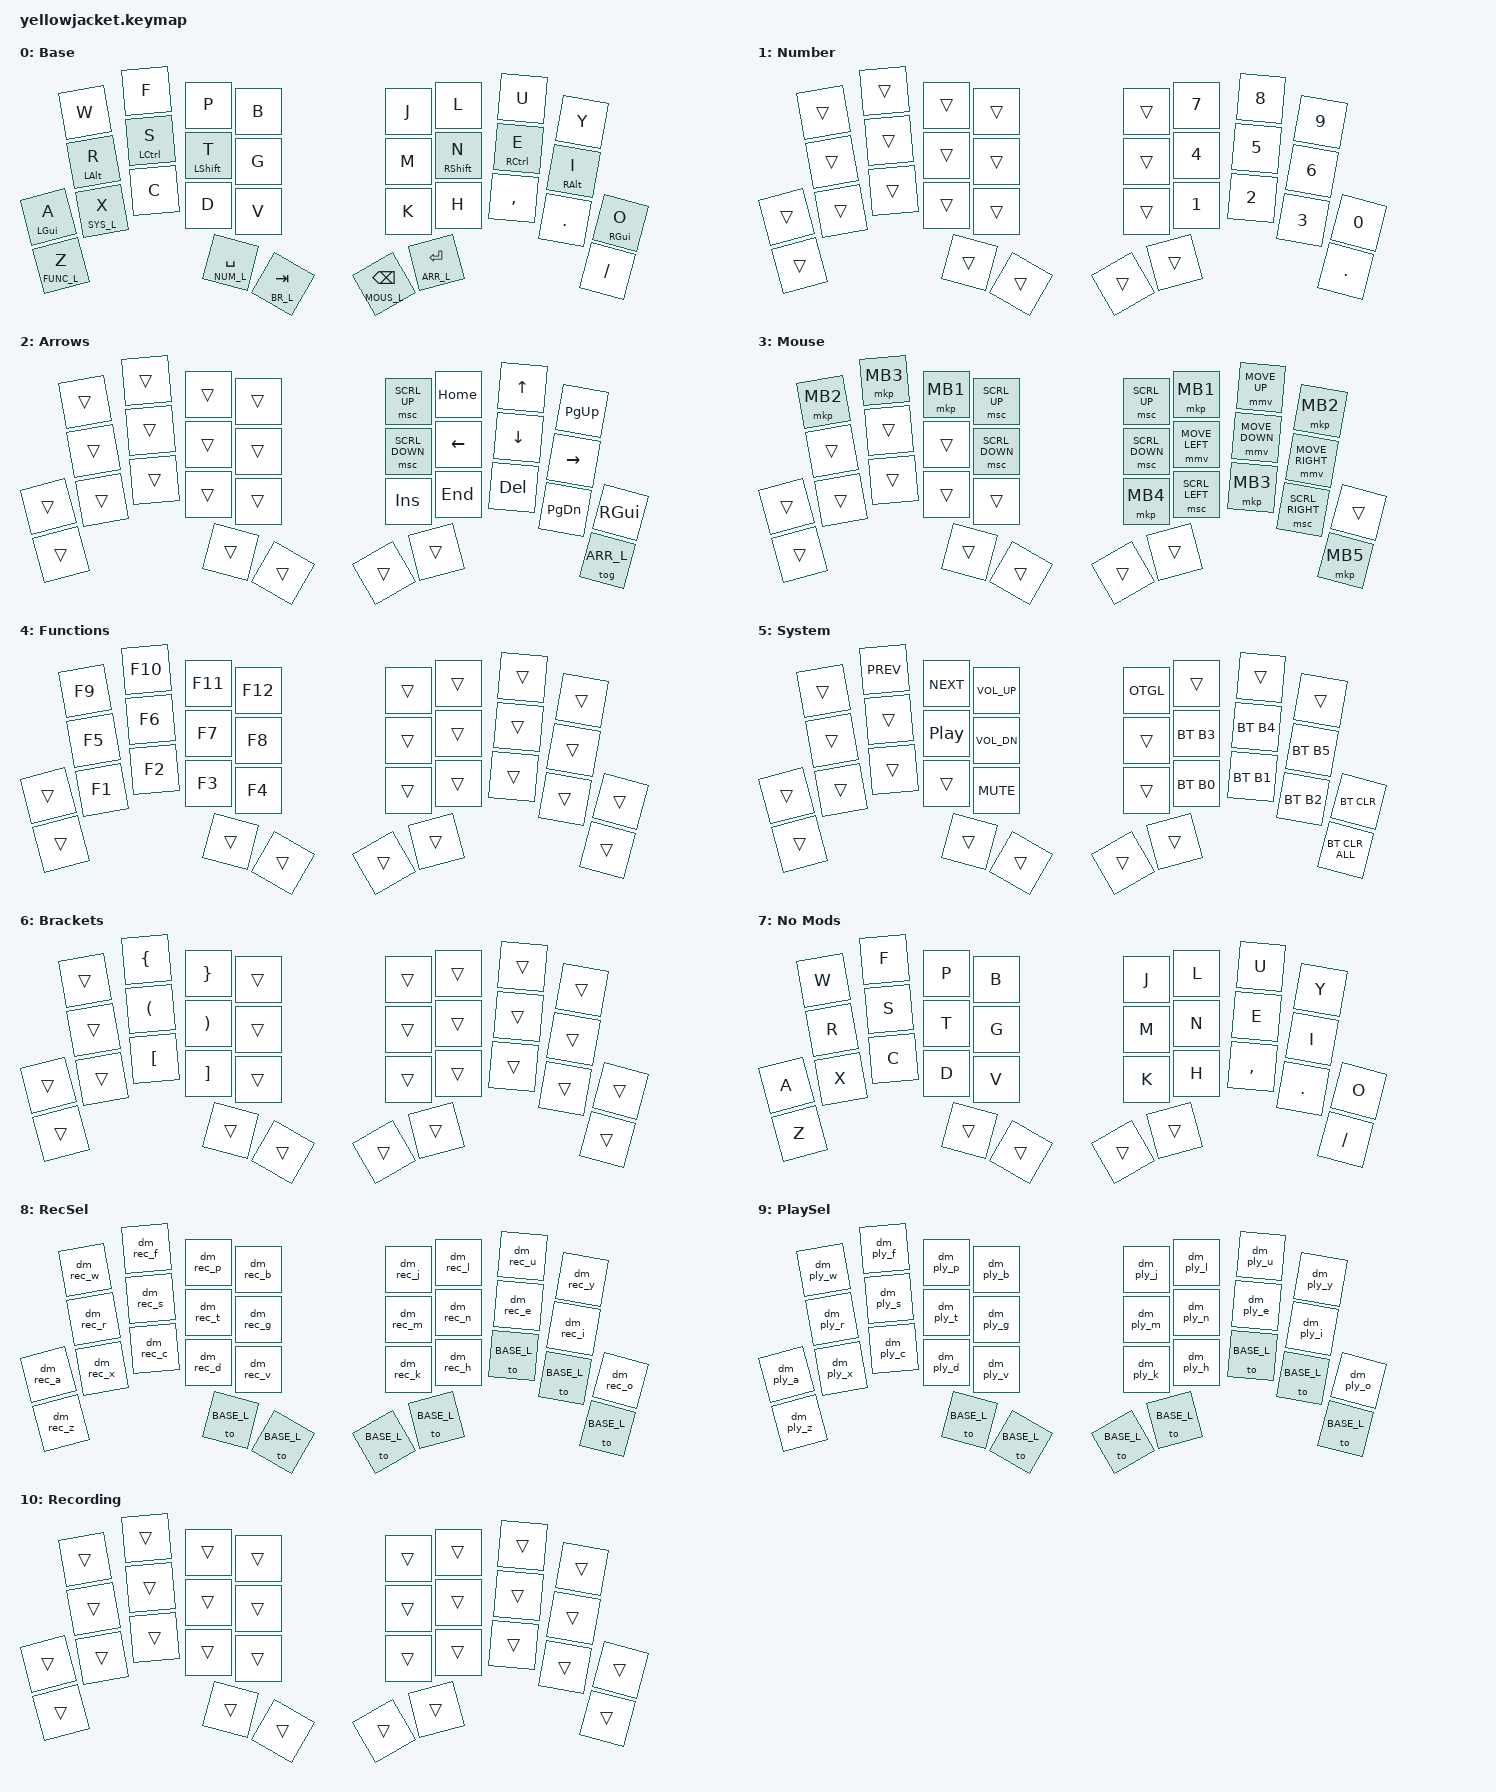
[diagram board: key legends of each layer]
/*
 * Copyright (c) 2020 The ZMK Contributors
 *
 * SPDX-License-Identifier: MIT
 */

#include <behaviors.dtsi>
#include <dt-bindings/zmk/bt.h>
#include <dt-bindings/zmk/ext_power.h>
#include <dt-bindings/zmk/keys.h>
#include <dt-bindings/zmk/outputs.h>

#define ZMK_POINTING_DEFAULT_MOVE_VAL 2000
#define ZMK_POINTING_DEFAULT_SCRL_VAL 20

#include <dt-bindings/zmk/pointing.h>
#include <dt-bindings/zmk/dynamic_macro.h>


#define BASE_L  0
#define NUM_L   1
#define ARR_L   2
#define MOUS_L  3
#define FUNC_L  4
#define SYS_L   5
#define BR_L    6
#define N_M_L   7

/* Vim-style dynamic macro state machine layers */
#define REC_L   8   /* "q" pressed: waiting for a register key */
#define PLY_L   9   /* "@" pressed: waiting for a register key */
#define DMR_L  10   /* currently recording; everything is transparent */

/* Dynamic macro registers -> slot indices. Slot numbers are chosen to equal the
 * key position of the letter, which makes log lines self-explanatory: a
 * "dynamic macro 8" message is register a, because A sits at position 8.
 * All values must be < CONFIG_ZMK_BEHAVIOR_DYNAMIC_MACRO_MAX_SLOTS. */
#define REG_W    0
#define REG_F    1
#define REG_P    2
#define REG_B    3
#define REG_J    4
#define REG_L    5
#define REG_U    6
#define REG_Y    7
#define REG_A    8
#define REG_R    9
#define REG_S   10
#define REG_T   11
#define REG_G   12
#define REG_M   13
#define REG_N   14
#define REG_E   15
#define REG_I   16
#define REG_O   17
#define REG_Z   18
#define REG_X   19
#define REG_C   20
#define REG_D   21
#define REG_V   22
#define REG_K   23
#define REG_H   24

/* Abort key for the register-select layers: any unassigned position returns to
 * the base layer, so a mistyped register cancels instead of getting stuck. */
#define XXX     &to BASE_L

#define B0     BT_SEL 0
#define B1     BT_SEL 1
#define B2     BT_SEL 2
#define B3     BT_SEL 3
#define B4     BT_SEL 4
#define B5     BT_SEL 5
#define OTGL   out OUT_TOG

/ {

    behaviors {
        hm: homerow_mods {
            compatible = "zmk,behavior-hold-tap";
            #binding-cells = <2>;
            tapping-term-ms = <150>;
            quick-tap-ms = <150>;
            flavor = "balanced";
            bindings = <&kp>, <&kp>;
        };

        lt_qk: layer_tap_quick {
            compatible = "zmk,behavior-hold-tap";
            #binding-cells = <2>;
            tapping-term-ms = <150>;
            quick-tap-ms = <150>;
            flavor = "balanced";
            bindings = <&mo>, <&kp>;
        };

        /* Runtime-recordable macro behavior: &dm <command> <slot>.
         * Provided by this repo as an out-of-tree module; see
         * src/behaviors/behavior_dynamic_macro.c. */
        dm: dynamic_macro {
            compatible = "zmk,behavior-dynamic-macro";
            #binding-cells = <2>;
            display-name = "Dynamic Macro";
        };
    };

    macros {
        m_swipe_left: m_swipe_left {
            compatible = "zmk,behavior-macro";
            #binding-cells = <0>;
            bindings
                = <&macro_press &kp LCTRL>
                , <&macro_tap &kp LEFT>
                , <&macro_release &kp LCTRL>
                ;
        };

        m_swipe_right: m_swipe_right {
            compatible = "zmk,behavior-macro";
            #binding-cells = <0>;
            bindings
                = <&macro_press &kp LCTRL>
                , <&macro_tap &kp RIGHT>
                , <&macro_release &kp LCTRL>
                ;
        };

        m_mission_control: m_mission_control {
            compatible = "zmk,behavior-macro";
            #binding-cells = <0>;
            bindings
                = <&macro_press &kp LCTRL>
                , <&macro_tap &kp UP>
                , <&macro_release &kp LCTRL>
                ;
        };

        /* ---- Vim-style dynamic macro wrappers ----
         * Each wrapper pairs a layer transition with a &dm command. None of
         * these emit keycodes, so the register-selection key and the stop key
         * never end up inside the recording.
         *
         * DM_REGISTER generates the record and playback wrapper pair for one
         * register. `#binding-cells` is hidden behind the object-like macro
         * DM_BC0 because a bare `#` inside a *function-like* macro body would
         * be parsed as the preprocessor stringify operator; in an object-like
         * macro body it stays literal. */
        #define DM_BC0 #binding-cells = <0>;
        #define DM_REGISTER(NAME, SLOT)                                 \
            dm_rec_##NAME: dm_rec_##NAME {                              \
                compatible = "zmk,behavior-macro";                       \
                DM_BC0                                                  \
                wait-ms = <0>;                                          \
                tap-ms = <0>;                                           \
                bindings = <&to DMR_L>, <&dm DM_REC SLOT>;              \
            };                                                          \
            dm_ply_##NAME: dm_ply_##NAME {                              \
                compatible = "zmk,behavior-macro";                       \
                DM_BC0                                                  \
                wait-ms = <0>;                                          \
                tap-ms = <0>;                                           \
                bindings = <&to BASE_L>, <&dm DM_PLY SLOT>;             \
            };

        DM_REGISTER(w, REG_W)
        DM_REGISTER(f, REG_F)
        DM_REGISTER(p, REG_P)
        DM_REGISTER(b, REG_B)
        DM_REGISTER(j, REG_J)
        DM_REGISTER(l, REG_L)
        DM_REGISTER(u, REG_U)
        DM_REGISTER(y, REG_Y)
        DM_REGISTER(a, REG_A)
        DM_REGISTER(r, REG_R)
        DM_REGISTER(s, REG_S)
        DM_REGISTER(t, REG_T)
        DM_REGISTER(g, REG_G)
        DM_REGISTER(m, REG_M)
        DM_REGISTER(n, REG_N)
        DM_REGISTER(e, REG_E)
        DM_REGISTER(i, REG_I)
        DM_REGISTER(o, REG_O)
        DM_REGISTER(z, REG_Z)
        DM_REGISTER(x, REG_X)
        DM_REGISTER(c, REG_C)
        DM_REGISTER(d, REG_D)
        DM_REGISTER(v, REG_V)
        DM_REGISTER(k, REG_K)
        DM_REGISTER(h, REG_H)

        /* One stop wrapper serves every register: the driver enforces that only
         * one slot records at a time, so DM_STP ignores its slot argument. */
        dm_stop: dm_stop {
            compatible = "zmk,behavior-macro";
            #binding-cells = <0>;
            wait-ms = <0>;
            tap-ms = <0>;
            bindings = <&dm DM_STP 0>, <&to BASE_L>;
        };
    };

    combos {
        compatible = "zmk,combos";

        #define COMBO(NAME, BINDINGS, KEYPOS) \
          combo_##NAME { \
            bindings = <BINDINGS>; \
            key-positions = <KEYPOS>; \
            timeout-ms = <30>; \
          };
        /*                KEY POSITIONS

          ╭────────────────────╮ ╭────────────────────╮
          │      0   1   2   3 | |  4   5   6   7     │
          │  8   9  10  11  12 │ │ 13  14  15  16  17 │
          │ 18  19  20  21  22 │ │ 23  24  25  26  27 │
          ╰───────────╮ 28  29 │ │ 30  31 ╭───────────╯
                      ╰────────╯ ╰────────╯            */
        // Remap Q to combo
        combo_lower_q {
            bindings = <&kp Q>;
            key-positions = <9 10>;
            timeout-ms = <60>;
        };

        // Colon and semi-colon
        COMBO(colon,     &kp COLON, 15 16)
        COMBO(semicolon, &kp SEMI,  24 25)

        // Escape Keys
        COMBO(left_esc,  &kp ESC,  9 10 11)
        COMBO(right_esc, &kp ESC, 14 15 16)

        COMBO(caps_word_combo, &caps_word, 29 30)

        // One shot modifiers, meant for use with the layer without home row mods
        COMBO(one_shot_shift, &sk LSHIFT, 21 24)
        COMBO(one_shot_ctrl,  &sk LCTRL,  20 25)
        COMBO(one_shot_alt,   &sk LALT,   19 26)
        COMBO(one_shot_super, &sk LGUI,   18 27)

        // Caps lock combo-combo
        COMBO(one_shot_caps,  &kp CAPS,   20 21 24 25)

        // Left hand quotes
        COMBO(q_grave_l,        &kp GRAVE,          9 29)
        COMBO(q_single_quote_l, &kp SINGLE_QUOTE,  10 29)
        COMBO(q_quote_l,        &kp DOUBLE_QUOTES, 11 29)
        COMBO(q_tilde_l,        &kp TILDE,          8 29)

        // Quick numbers
        COMBO(q_0, &kp N0, 31 17)
        COMBO(q_1, &kp N1, 24 31)
        COMBO(q_2, &kp N2, 25 31)
        COMBO(q_3, &kp N3, 26 31)
        COMBO(q_4, &kp N4, 14 31)
        COMBO(q_5, &kp N5, 15 31)
        COMBO(q_6, &kp N6, 16 31)
        COMBO(q_7, &kp N7,  5 31)
        COMBO(q_8, &kp N8,  6 31)
        COMBO(q_9, &kp N9,  7 31)

        // Quick special characters
        COMBO(q_1_sp, &kp EXCLAMATION, 24 30)
        COMBO(q_2_sp, &kp AT_SIGN,     25 30)
        COMBO(q_3_sp, &kp POUND,       26 30)
        COMBO(q_4_sp, &kp DOLLAR,      14 30)
        COMBO(q_5_sp, &kp PERCENT,     15 30)
        COMBO(q_6_sp, &kp CARET,       16 30)
        COMBO(q_7_sp, &kp AMPERSAND,    5 30)
        COMBO(q_8_sp, &kp ASTERISK,     6 30)
        COMBO(q_9_sp, &kp LPAR,         7 30)

        // Backslash && Pipe
        COMBO(q_backslash, &kp BACKSLASH, 30 27)
        COMBO(q_pipe, &kp PIPE, 27 31)

        // Operators
        COMBO(q_equals, &kp EQUAL, 23 30)
        COMBO(q_plus,   &kp PLUS,  4 30)

        // Dash right hand
        COMBO(q_dash, &kp MINUS, 13 30)

        // Underscore left hand
        COMBO(q_underscore, &kp UNDER, 12 29)

        // Toggle arrow or mouse layer
        COMBO(tog_mouse_r,       &tog MOUS_L,        31 23)
        COMBO(tog_mouse_l,       &tog MOUS_L,        29 22)
        COMBO(tog_arrow,         &tog ARR_L,         30 31)
        COMBO(to_no_mods,        &tog N_M_L,         28 31)

        // MacOS gestures (Mission Control shortcuts: Ctrl + arrow)
        COMBO(c_swipe_left,      &m_swipe_left,       0 29)
        COMBO(c_mission_control, &m_mission_control,  1 29)
        COMBO(c_swipe_right,     &m_swipe_right,      2 29)

        // OS shortcuts
        COMBO(q_super_alt_d,     &kp LG(LA(D)),      4 13)

        /* ---- Vim-style dynamic macro triggers ----
         * Z+X (18 19) is the "q" trigger. On the base layer it opens the
         * register-select layer; while recording, the same chord stops. Two
         * combos may share key positions because their `layers` filters are
         * disjoint and ZMK filters candidates by the highest active layer.
         * C+D (20 21) is the "@" playback trigger. */
        dm_combo_record {
            bindings = <&to REC_L>;
            key-positions = <18 19>;
            timeout-ms = <50>;
            layers = <BASE_L>;
        };

        dm_combo_stop {
            bindings = <&dm_stop>;
            key-positions = <18 19>;
            timeout-ms = <50>;
            layers = <DMR_L>;
        };

        dm_combo_play {
            bindings = <&to PLY_L>;
            key-positions = <20 21>;
            timeout-ms = <50>;
            layers = <BASE_L>;
        };
    };

    conditional_layers {
        compatible = "zmk,conditional-layers";
    };

    keymap {
        compatible = "zmk,keymap";

        default_layer {
            label = "Base";
            bindings = <
        //               ╭─────────────┬─────────────┬─────────────┬─────────────╮   ╭─────────────┬─────────────┬─────────────┬─────────────╮
                           &kp W         &kp F         &kp P         &kp B             &kp J         &kp L         &kp U         &kp Y
             &hm LGUI A    &hm LALT R    &hm LCTRL S   &hm LSHIFT T  &kp G             &kp M         &hm RSHIFT N  &hm RCTRL E   &hm RALT I    &hm RGUI O
             &lt_qk FUNC_L Z  &lt_qk SYS_L X   &kp C         &kp D         &kp V             &kp K         &kp H         &kp COMMA     &kp DOT       &kp FSLH
        // ╰─────────────┴─────────────┴─────────────╮                                                           ╭─────────────┴─────────────┴─────────────╯
                                                    &lt_qk NUM_L SPACE  &lt_qk BR_L TAB &lt_qk MOUS_L BACKSPACE &lt_qk ARR_L ENTER
        //                                           ╰─────────────┴─────────────╯   ╰─────────────┴─────────────╯
            >;
        };

        num_layer {
            label = "Number";
            bindings = <
        //               ╭─────────────┬─────────────┬─────────────┬─────────────╮   ╭─────────────┬─────────────┬─────────────┬─────────────╮
                             &trans        &trans        &trans        &trans              &trans       &kp N7        &kp N8        &kp N9
               &trans        &trans        &trans        &trans        &trans              &trans       &kp N4        &kp N5        &kp N6        &kp N0
               &trans        &trans        &trans        &trans        &trans              &trans       &kp N1        &kp N2        &kp N3        &kp DOT
        // ╰─────────────┴─────────────┴─────────────╮                                                           ╭─────────────┴─────────────┴─────────────╯
                                                         &trans        &trans              &trans       &trans
        //                                           ╰─────────────┴─────────────╯   ╰─────────────┴─────────────╯
            >;
        };

        arrow_layer {
            label = "Arrows";
            bindings = <
        //               ╭─────────────┬─────────────┬─────────────┬─────────────╮   ╭─────────────┬─────────────┬─────────────┬─────────────╮
                             &trans        &trans        &trans        &trans            &msc SCRL_UP   &kp HOME      &kp UP        &kp PG_UP
               &trans        &trans        &trans        &trans        &trans            &msc SCRL_DOWN &kp LEFT      &kp DOWN      &kp RIGHT     &kp RGUI
               &trans        &trans        &trans        &trans        &trans            &kp INS        &kp END       &kp DEL       &kp PG_DN     &tog ARR_L
        // ╰─────────────┴─────────────┴─────────────╮                                                           ╭─────────────┴─────────────┴─────────────╯
                                                         &trans        &trans            &trans         &trans
        //                                           ╰─────────────┴─────────────╯   ╰─────────────┴─────────────╯
            >;
        };

        mouse_layer {
            label = "Mouse";
            bindings = <
        //               ╭─────────────┬─────────────┬─────────────┬─────────────╮   ╭─────────────┬─────────────┬─────────────┬─────────────╮
                             &mkp MB2      &mkp MB3      &mkp MB1      &msc SCRL_UP     &msc SCRL_UP    &mkp MB1       &mmv MOVE_UP     &mkp MB2
               &trans        &trans        &trans        &trans        &msc SCRL_DOWN   &msc SCRL_DOWN  &mmv MOVE_LEFT &mmv MOVE_DOWN   &mmv MOVE_RIGHT &trans
               &trans        &trans        &trans        &trans        &trans           &mkp MB4        &msc SCRL_LEFT &mkp MB3         &msc SCRL_RIGHT &mkp MB5
        // ╰─────────────┴─────────────┴─────────────╮                                                           ╭─────────────┴─────────────┴─────────────╯
                                                         &trans        &trans           &trans          &trans
        //                                           ╰─────────────┴─────────────╯   ╰─────────────┴─────────────╯
            >;
        };

        function_layer {
            label = "Functions";
            bindings = <
        //               ╭─────────────┬─────────────┬─────────────┬─────────────╮   ╭─────────────┬─────────────┬─────────────┬─────────────╮
                             &kp F9        &kp F10       &kp F11       &kp F12             &trans       &trans        &trans        &trans
               &trans        &kp F5        &kp F6        &kp F7        &kp F8              &trans       &trans        &trans        &trans        &trans
               &trans        &kp F1        &kp F2        &kp F3        &kp F4              &trans       &trans        &trans        &trans        &trans
        // ╰─────────────┴─────────────┴─────────────╮                                                           ╭─────────────┴─────────────┴─────────────╯
                                                         &trans        &trans              &trans       &trans
        //                                           ╰─────────────┴─────────────╯   ╰─────────────┴─────────────╯
            >;
        };
        
        sys_layer {
            label = "System";
            bindings = <
        //               ╭─────────────┬─────────────┬─────────────┬─────────────╮   ╭─────────────┬─────────────┬─────────────┬─────────────╮
                           &trans         &kp C_PREV    &kp C_NEXT     &kp C_VOL_UP       &OTGL          &trans      &trans        &trans
             &trans        &trans         &trans        &kp C_PP       &kp C_VOL_DN       &trans         &bt B3      &bt B4        &bt B5         &bt BT_CLR 
             &trans        &trans         &trans        &trans         &kp C_MUTE         &trans         &bt B0      &bt B1        &bt B2         &bt BT_CLR_ALL 
        // ╰─────────────┴─────────────┴─────────────╮                                                           ╭─────────────┴─────────────┴─────────────╯
                                                        &trans         &trans             &trans         &trans
        //                                           ╰─────────────┴─────────────╯   ╰─────────────┴─────────────╯
            >;
        };

        bra_layer {
            label = "Brackets";
            bindings = <
        //               ╭─────────────┬─────────────┬─────────────┬─────────────╮   ╭─────────────┬─────────────┬─────────────┬─────────────╮
                             &trans        &kp LBRC      &kp RBRC      &trans            &trans         &trans        &trans        &trans
               &trans        &trans        &kp LPAR      &kp RPAR      &trans            &trans         &trans        &trans        &trans        &trans
               &trans        &trans        &kp LBKT      &kp RBKT      &trans            &trans         &trans        &trans        &trans        &trans
        // ╰─────────────┴─────────────┴─────────────╮                                                           ╭─────────────┴─────────────┴─────────────╯
                                                         &trans        &trans            &trans        &trans
        //                                           ╰─────────────┴─────────────╯   ╰─────────────┴─────────────╯
            >;
        };

        no_mods_layer {
            label = "No Mods";
            bindings = <
        //               ╭─────────────┬─────────────┬─────────────┬─────────────╮   ╭─────────────┬─────────────┬─────────────┬─────────────╮
							  &kp W       &kp F         &kp P         &kp B             &kp J         &kp L         &kp U         &kp Y
             &kp A			  &kp R		  &kp S			&kp T		  &kp G             &kp M         &kp N			&kp E		  &kp I			&kp O
             &kp Z			  &kp X		  &kp C         &kp D         &kp V             &kp K         &kp H         &kp COMMA     &kp DOT       &kp FSLH
        // ╰─────────────┴─────────────┴─────────────╮                                                           ╭─────────────┴─────────────┴─────────────╯
                                                        &trans        &trans            &trans        &trans 
        //                                           ╰─────────────┴─────────────╯   ╰─────────────┴─────────────╯
            >;
        };

        /* Layer 8 - after the "q" trigger: choose a register to record into.
         * Every letter position is a register, matching the base layer legend,
         * so "q then s" records into register s. The seven non-letter positions
         * abort back to base. */
        dm_record_select_layer {
            label = "RecSel";
            bindings = <
        //               ╭─────────────┬─────────────┬─────────────┬─────────────╮   ╭─────────────┬─────────────┬─────────────┬─────────────╮
                           &dm_rec_w     &dm_rec_f     &dm_rec_p     &dm_rec_b         &dm_rec_j     &dm_rec_l     &dm_rec_u     &dm_rec_y
             &dm_rec_a     &dm_rec_r     &dm_rec_s     &dm_rec_t     &dm_rec_g         &dm_rec_m     &dm_rec_n     &dm_rec_e     &dm_rec_i     &dm_rec_o
             &dm_rec_z     &dm_rec_x     &dm_rec_c     &dm_rec_d     &dm_rec_v         &dm_rec_k     &dm_rec_h     XXX           XXX           XXX
        // ╰─────────────┴─────────────┴─────────────╮                                                           ╭─────────────┴─────────────┴─────────────╯
                                                       XXX           XXX               XXX           XXX
        //                                           ╰─────────────┴─────────────╯   ╰─────────────┴─────────────╯
            >;
        };

        /* Layer 9 - after the "@" trigger: choose a register to play back. */
        dm_play_select_layer {
            label = "PlaySel";
            bindings = <
        //               ╭─────────────┬─────────────┬─────────────┬─────────────╮   ╭─────────────┬─────────────┬─────────────┬─────────────╮
                           &dm_ply_w     &dm_ply_f     &dm_ply_p     &dm_ply_b         &dm_ply_j     &dm_ply_l     &dm_ply_u     &dm_ply_y
             &dm_ply_a     &dm_ply_r     &dm_ply_s     &dm_ply_t     &dm_ply_g         &dm_ply_m     &dm_ply_n     &dm_ply_e     &dm_ply_i     &dm_ply_o
             &dm_ply_z     &dm_ply_x     &dm_ply_c     &dm_ply_d     &dm_ply_v         &dm_ply_k     &dm_ply_h     XXX           XXX           XXX
        // ╰─────────────┴─────────────┴─────────────╮                                                           ╭─────────────┴─────────────┴─────────────╯
                                                       XXX           XXX               XXX           XXX
        //                                           ╰─────────────┴─────────────╯   ╰─────────────┴─────────────╯
            >;
        };

        /* Layer 10 - recording. Fully transparent so typing (and all existing
         * combos and hold-taps) behave normally; the Z+X combo stops. */
        dm_recording_layer {
            label = "Recording";
            bindings = <
        //               ╭─────────────┬─────────────┬─────────────┬─────────────╮   ╭─────────────┬─────────────┬─────────────┬─────────────╮
                           &trans        &trans        &trans        &trans            &trans        &trans        &trans        &trans
             &trans        &trans        &trans        &trans        &trans            &trans        &trans        &trans        &trans        &trans
             &trans        &trans        &trans        &trans        &trans            &trans        &trans        &trans        &trans        &trans
        // ╰─────────────┴─────────────┴─────────────╮                                                           ╭─────────────┴─────────────┴─────────────╯
                                                       &trans        &trans            &trans        &trans
        //                                           ╰─────────────┴─────────────╯   ╰─────────────┴─────────────╯
            >;
        };
    };
};

/*
        _layer {
            label = "";
            bindings = <
        //               ╭─────────────┬─────────────┬─────────────┬─────────────╮   ╭─────────────┬─────────────┬─────────────┬─────────────╮
                           &none         &none         &none         &none             &none         &kp F9        &kp F10       &kp F11
             &none         &none         &none         &none         &none             &none         &kp F1        &kp F2        &kp F3        &kp F4 
             &none         &none         &none         &none         &none             &none         &kp F5        &kp F6        &kp F7        &kp F8 
        // ╰─────────────┴─────────────┴─────────────╮                                                           ╭─────────────┴─────────────┴─────────────╯
                                                       &none         &none             &none         &none
        //                                           ╰─────────────┴─────────────╯   ╰─────────────┴─────────────╯
            >;
        };
*/
